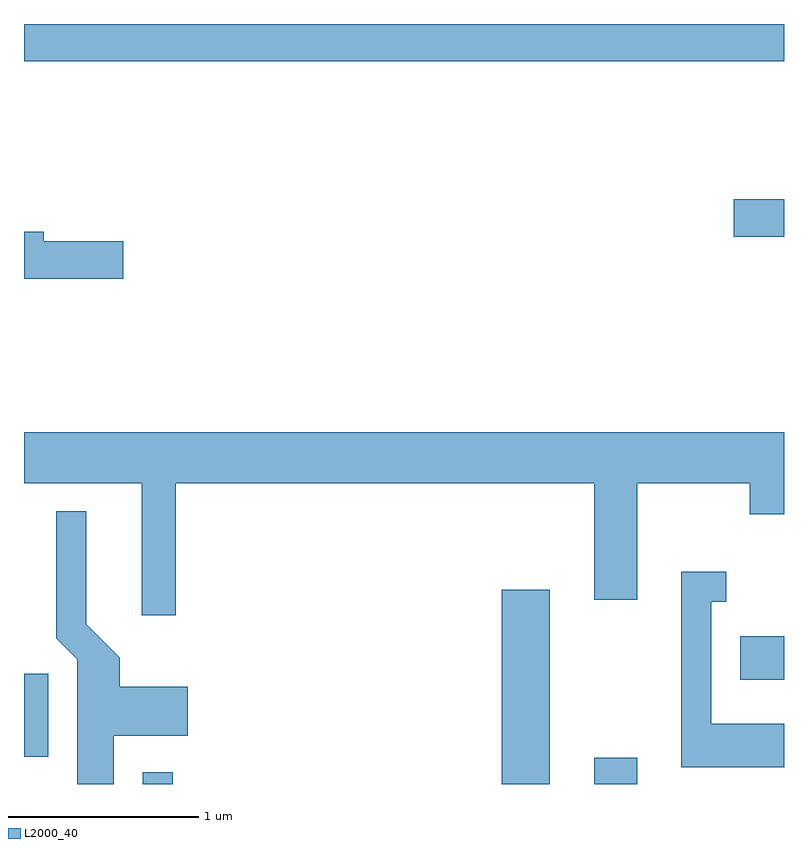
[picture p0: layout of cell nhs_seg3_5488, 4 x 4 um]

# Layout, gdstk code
import gdstk
lib = gdstk.Library(unit=1e-6, precision=1e-09)
def R(c, l, rs):  # rectangles x0, y0, x1, y1
    for r in rs: c.add(gdstk.rectangle(r[:2], r[2:], *l))
def P(c, l, *ps):  # polygons
    for p in ps: c.add(gdstk.Polygon(p, *l))
L2000_40 = (2000, 40)

nhs_seg3_5488 = lib.new_cell('nhs_seg3_5488')
R(nhs_seg3_5488, L2000_40, [(346.236,1219.892,346.394,1219.953), (348.126,1219.892,348.379,1220.914), (348.611,1219.892,348.839,1220.029), (345.611,1220.036,345.739,1220.473), (349.381,1220.441,349.611,1220.669), (349.346,1222.771,349.611,1222.969), (345.611,1223.696,349.611,1223.892)])
P(nhs_seg3_5488, L2000_40, [(346.134,1222.749),(345.714,1222.749),(345.714,1222.799),(345.611,1222.799),(345.611,1222.551),(346.134,1222.551)],
  [(346.409,1221.476),(348.611,1221.476),(348.611,1220.861),(348.839,1220.861),(348.839,1221.476),(349.431,1221.476),(349.431,1221.311),(349.611,1221.311),(349.611,1221.744),(345.611,1221.744),(345.611,1221.476),(346.231,1221.476),(346.231,1220.781),(346.409,1220.781)],
  [(346.084,1220.146),(346.474,1220.146),(346.474,1220.404),(346.114,1220.404),(346.114,1220.557),(345.939,1220.732),(345.939,1221.328),(345.781,1221.328),(345.781,1220.659),(345.891,1220.549),(345.891,1219.892),(346.084,1219.892)],
  [(349.611,1220.209),(349.229,1220.209),(349.229,1220.851),(349.308,1220.851),(349.308,1221.009),(349.071,1221.009),(349.071,1219.981),(349.611,1219.981)])

lib.write_gds('nhs_seg3_5488.gds')
